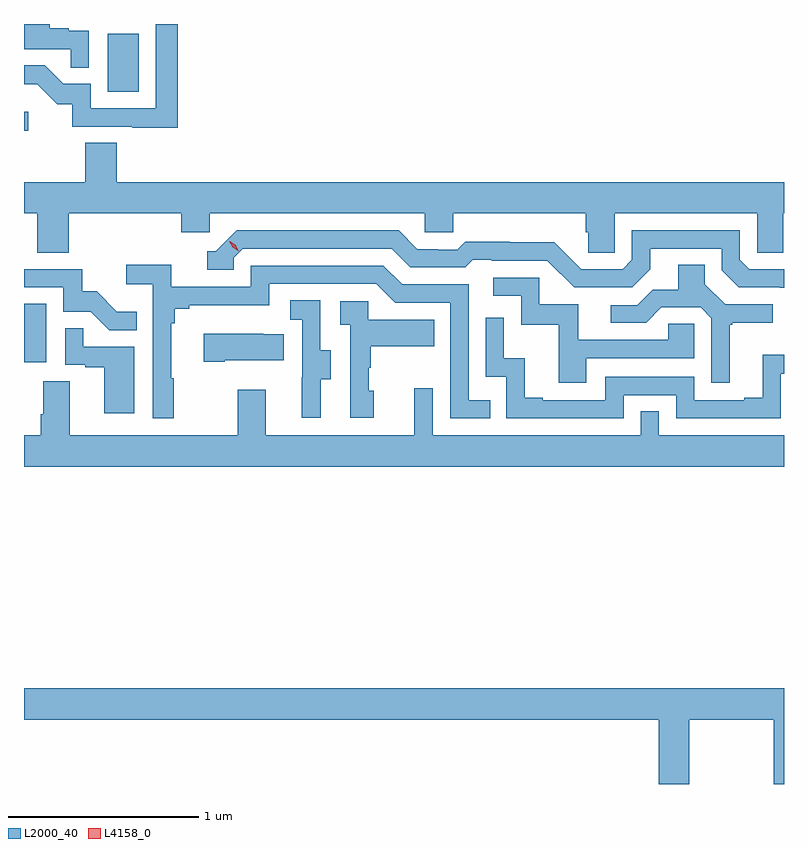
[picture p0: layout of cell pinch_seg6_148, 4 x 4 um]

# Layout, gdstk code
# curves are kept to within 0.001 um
import gdstk
lib = gdstk.Library(unit=1e-6, precision=1e-09)
def R(c, l, rs):  # rectangles x0, y0, x1, y1
    for r in rs: c.add(gdstk.rectangle(r[:2], r[2:], *l))
def P(c, l, *ps):  # polygons
    for p in ps: c.add(gdstk.Polygon(p, *l))
L2000_40 = (2000, 40)
L4158_0 = (4158, 0)

pinch_seg6_148 = lib.new_cell('pinch_seg6_148')
R(pinch_seg6_148, L2000_40, [(969.228,921.246,969.346,921.553), (969.228,922.462,969.25,922.564), (969.668,922.668,969.832,922.975)])
P(pinch_seg6_148, L2000_40, [(969.57,922.989),(969.464,922.989),(969.464,923.002),(969.364,923.002),(969.364,923.025),(969.228,923.025),(969.228,922.893),(969.475,922.893),(969.475,922.795),(969.57,922.795)],
  [(970.037,923.025),(969.921,923.025),(969.921,922.581),(969.579,922.581),(969.579,922.71),(969.435,922.71),(969.337,922.808),(969.228,922.808),(969.228,922.709),(969.297,922.709),(969.404,922.602),(969.481,922.602),(969.481,922.485),(969.799,922.485),(969.799,922.48),(970.037,922.48)],
  [(969.716,922.4),(969.551,922.4),(969.551,922.192),(969.228,922.192),(969.228,922.028),(969.299,922.028),(969.299,921.82),(969.464,921.82),(969.464,922.028),(970.055,922.028),(970.055,921.93),(970.206,921.93),(970.206,922.028),(971.337,922.028),(971.337,921.93),(971.487,921.93),(971.487,922.028),(972.185,922.028),(972.185,921.93),(972.199,921.93),(972.199,921.82),(972.336,921.82),(972.336,922.028),(973.086,922.028),(973.086,921.82),(973.225,921.82),(973.225,922.028),(973.228,922.028),(973.228,922.192),(969.716,922.192)],
  [(973.228,921.735),(973.044,921.735),(972.996,921.783),(972.996,921.939),(972.426,921.939),(972.426,921.783),(972.378,921.735),(972.162,921.735),(972.02,921.877),(971.784,921.877),(971.784,921.88),(971.551,921.88),(971.509,921.837),(971.406,921.837),(971.406,921.84),(971.299,921.84),(971.2,921.939),(970.347,921.939),(970.236,921.828),(970.193,921.828),(970.193,921.732),(970.332,921.732),(970.332,921.795),(970.38,921.843),(971.163,921.843),(971.262,921.744),(971.551,921.744),(971.59,921.783),(971.689,921.783),(971.689,921.78),(971.982,921.78),(972.123,921.639),(972.429,921.639),(972.523,921.733),(972.523,921.843),(972.9,921.843),(972.9,921.729),(972.99,921.639),(973.228,921.638)],
  [(970.015,921.161),(970.003,921.161),(970.003,921.449),(970.022,921.449),(970.022,921.526),(970.099,921.526),(970.099,921.545),(970.518,921.545),(970.518,921.657),(971.082,921.657),(971.181,921.558),(971.472,921.558),(971.472,920.949),(971.681,920.949),(971.681,921.045),(971.568,921.045),(971.568,921.654),(971.218,921.654),(971.119,921.753),(970.422,921.753),(970.422,921.642),(970.004,921.642),(970.004,921.758),(969.765,921.758),(969.765,921.656),(969.906,921.656),(969.906,920.949),(970.015,920.949)],
  [(972.943,921.441),(972.955,921.441),(972.955,921.452),(973.168,921.452),(973.168,921.549),(972.918,921.549),(972.811,921.656),(972.811,921.758),(972.671,921.758),(972.671,921.626),(972.536,921.626),(972.456,921.546),(972.315,921.546),(972.315,921.453),(972.502,921.453),(972.583,921.534),(972.789,921.534),(972.846,921.477),(972.846,921.138),(972.943,921.138)],
  [(969.821,921.511),(969.717,921.511),(969.61,921.618),(969.534,921.618),(969.534,921.735),(969.228,921.735),(969.228,921.639),(969.435,921.639),(969.435,921.51),(969.579,921.51),(969.677,921.412),(969.821,921.412)],
  [(972.187,921.267),(972.756,921.267),(972.756,921.447),(972.619,921.447),(972.619,921.363),(972.145,921.363),(972.145,921.549),(971.94,921.549),(971.94,921.69),(971.697,921.69),(971.697,921.594),(971.844,921.594),(971.844,921.441),(972.043,921.441),(972.043,921.138),(972.187,921.138)],
  [(970.789,921.154),(970.843,921.154),(970.843,921.309),(970.788,921.309),(970.788,921.572),(970.629,921.572),(970.629,921.469),(970.692,921.469),(970.692,921.165),(970.691,921.165),(970.691,920.952),(970.789,920.952)],
  [(971.068,921.096),(971.043,921.096),(971.043,921.215),(971.053,921.215),(971.053,921.329),(971.387,921.329),(971.387,921.469),(971.04,921.469),(971.04,921.567),(970.893,921.567),(970.893,921.443),(970.944,921.443),(970.944,920.952),(971.068,920.952)],
  [(972.384,921.072),(972.66,921.072),(972.66,920.949),(973.212,920.949),(973.212,921.185),(973.228,921.185),(973.228,921.283),(973.115,921.283),(973.115,921.058),(973.019,921.058),(973.019,921.045),(972.756,921.045),(972.756,921.168),(972.288,921.168),(972.288,921.045),(971.959,921.045),(971.959,921.058),(971.864,921.058),(971.864,921.266),(971.754,921.266),(971.754,921.478),(971.658,921.478),(971.658,921.168),(971.766,921.168),(971.766,920.949),(972.384,920.949)],
  [(969.808,921.327),(969.539,921.327),(969.539,921.425),(969.444,921.425),(969.444,921.231),(969.551,921.231),(969.551,921.219),(969.65,921.219),(969.65,920.976),(969.808,920.976)],
  [(970.285,921.254),(970.595,921.254),(970.595,921.391),(970.487,921.391),(970.487,921.394),(970.173,921.394),(970.173,921.247),(970.285,921.247)],
  [(973.228,920.86),(972.57,920.86),(972.57,920.987),(972.474,920.987),(972.474,920.86),(971.379,920.86),(971.379,921.109),(971.282,921.109),(971.282,920.86),(970.501,920.86),(970.501,921.1),(970.354,921.1),(970.354,920.86),(969.469,920.86),(969.469,921.146),(969.329,921.146),(969.329,920.972),(969.317,920.972),(969.317,920.86),(969.228,920.86),(969.228,920.696),(973.228,920.696)],
  [(972.729,919.364),(973.174,919.364),(973.174,919.025),(973.228,919.025),(973.228,919.528),(969.228,919.528),(969.228,919.364),(972.569,919.364),(972.569,919.025),(972.729,919.025)])
P(pinch_seg6_148, L4158_0, [(970.357,921.83),(970.326,921.849),(970.309,921.881),(970.309,921.882),(970.31,921.882),(970.341,921.862),(970.357,921.83),(970.357,921.83)])

lib.write_gds('pinch_seg6_148.gds')
